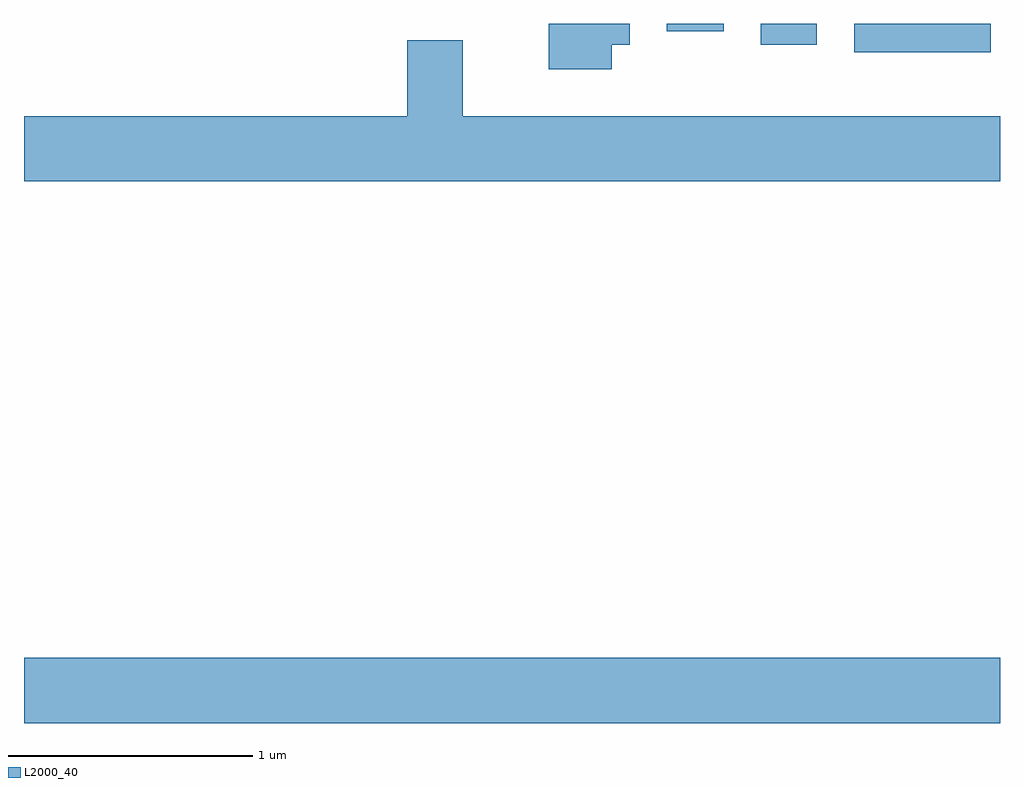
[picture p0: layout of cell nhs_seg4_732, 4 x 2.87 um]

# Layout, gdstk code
import gdstk
lib = gdstk.Library(unit=1e-6, precision=1e-09)
def R(c, l, rs):  # rectangles x0, y0, x1, y1
    for r in rs: c.add(gdstk.rectangle(r[:2], r[2:], *l))
def P(c, l, *ps):  # polygons
    for p in ps: c.add(gdstk.Polygon(p, *l))
L2000_40 = (2000, 40)

nhs_seg4_732 = lib.new_cell('nhs_seg4_732')
R(nhs_seg4_732, L2000_40, [(205.611,1359.116,209.611,1359.384), (209.013,1361.866,209.574,1361.982), (208.631,1361.896,208.859,1361.982), (208.246,1361.951,208.479,1361.982)])
P(nhs_seg4_732, L2000_40, [(208.019,1361.896),(208.094,1361.896),(208.094,1361.982),(207.761,1361.982),(207.761,1361.796),(208.019,1361.796)],
  [(209.611,1361.604),(207.409,1361.604),(207.409,1361.914),(207.181,1361.914),(207.181,1361.604),(205.611,1361.604),(205.611,1361.336),(209.611,1361.336)])

lib.write_gds('nhs_seg4_732.gds')
